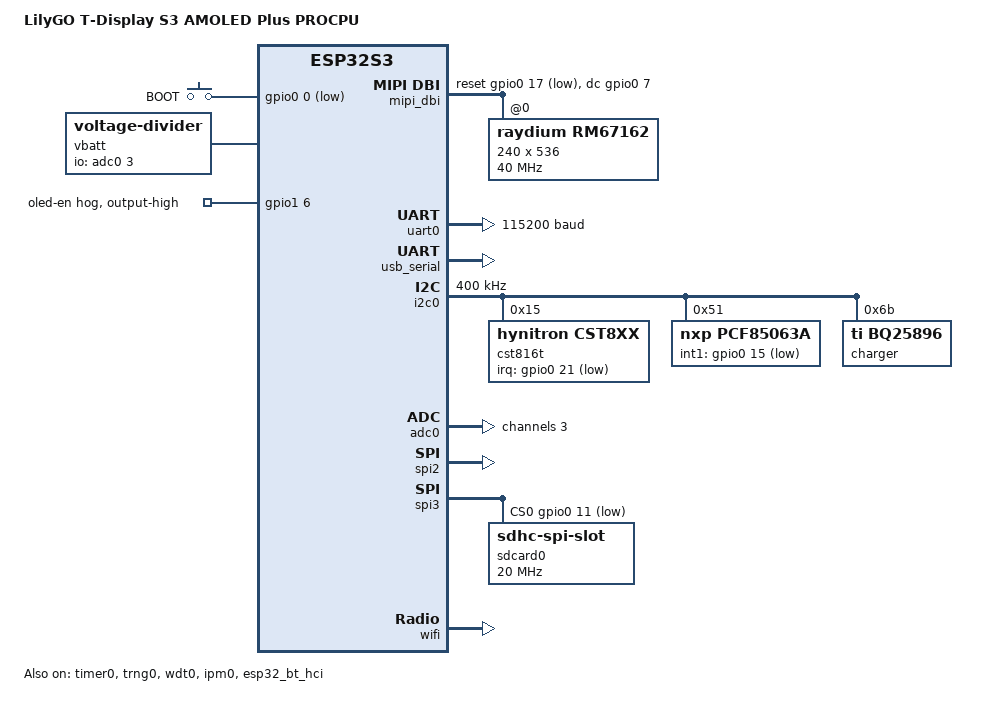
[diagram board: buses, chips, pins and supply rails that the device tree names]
/*
 * SPDX-FileCopyrightText: Copyright The Zephyr Project Contributors
 * SPDX-License-Identifier: Apache-2.0
 */

/dts-v1/;

#include <espressif/esp32s3/esp32s3.dtsi>
#include "tdisplay_s3_amoled_plus-pinctrl.dtsi"
#include <espressif/partitions_0x0_amp_16M.dtsi>
#include <zephyr/dt-bindings/adc/adc.h>
#include <zephyr/dt-bindings/display/panel.h>
#include <zephyr/dt-bindings/input/input-event-codes.h>
#include <zephyr/dt-bindings/mipi_dbi/mipi_dbi.h>

/ {
	model = "LilyGO T-Display S3 AMOLED Plus PROCPU";
	compatible = "espressif,esp32s3";

	aliases {
		i2c-0 = &i2c0;
		rtc = &pcf85063a;
		sdhc0 = &sdcard0;
		sw0 = &boot_button;
		uart-0 = &uart0;
		watchdog0 = &wdt0;
	};

	chosen {
		zephyr,sram = &sram1;
		zephyr,console = &usb_serial;
		zephyr,shell-uart = &usb_serial;
		zephyr,flash = &flash0;
		zephyr,code-partition = &slot0_partition;
		zephyr,bt-hci = &esp32_bt_hci;
		zephyr,display = &rm67162;
		zephyr,touch = &cst816t;
	};

	mipi_dbi {
		compatible = "zephyr,mipi-dbi-spi";
		spi-dev = <&spi2>;
		dc-gpios = <&gpio0 7 GPIO_ACTIVE_HIGH>;
		reset-gpios = <&gpio0 17 GPIO_ACTIVE_LOW>;
		te-gpios = <&gpio0 9 GPIO_ACTIVE_HIGH>;
		write-only;
		#address-cells = <1>;
		#size-cells = <0>;

		rm67162: rm67162@0 {
			compatible = "raydium,rm67162";
			reg = <0>;
			mipi-max-frequency = <DT_FREQ_M(40)>;
			mipi-mode = "MIPI_DBI_MODE_SPI_4WIRE";
			init-sequence = "lilygo-t-display-s3-amoled";
			width = <240>;
			height = <536>;
			rotation = <90>;
			pixel-format = <PANEL_PIXEL_FORMAT_RGB_565X>;
			te-mode = "MIPI_DBI_TE_RISING_EDGE";
		};
	};

	gpio_keys {
		compatible = "gpio-keys";

		boot_button: boot_button {
			label = "BOOT";
			gpios = <&gpio0 0 GPIO_ACTIVE_LOW>;
			zephyr,code = <INPUT_KEY_0>;
		};
	};

	lvgl_pointer {
		compatible = "zephyr,lvgl-pointer-input";
		input = <&cst816t>;
	};

	vbatt: vbatt {
		compatible = "voltage-divider";
		io-channels = <&adc0 3>;
		output-ohms = <100000>;
		full-ohms = <200000>;
		skip-calibration;
	};
};

&flash0 {
	reg = <0x0 DT_SIZE_M(16)>;
	ranges = <0x0 0x0 DT_SIZE_M(16)>;
};

&psram0 {
	size = <DT_SIZE_M(8)>;
};

&gpio0 {
	status = "okay";
};

&gpio1 {
	status = "okay";

	/* Enables the AMOLED panel power supply (ELVDD/ELVSS) */
	oled-en-hog {
		gpio-hog;
		gpios = <6 GPIO_ACTIVE_HIGH>;
		output-high;
		line-name = "oled-en";
	};
};

&uart0 {
	status = "okay";
	current-speed = <115200>;
	pinctrl-0 = <&uart0_default>;
	pinctrl-names = "default";
};

&usb_serial {
	status = "okay";
};

&i2c0 {
	status = "okay";
	clock-frequency = <I2C_BITRATE_FAST>;
	pinctrl-0 = <&i2c0_default>;
	pinctrl-names = "default";

	cst816t: touchscreen@15 {
		compatible = "hynitron,cst8xx";
		reg = <0x15>;
		irq-gpios = <&gpio0 21 GPIO_ACTIVE_LOW>;
		screen-width = <536>;
		screen-height = <240>;
		inverted-y;
		swapped-x-y;
	};

	pcf85063a: rtc@51 {
		compatible = "nxp,pcf85063a";
		reg = <0x51>;
		int1-gpios = <&gpio0 15 GPIO_ACTIVE_LOW>;
	};

	charger: charger@6b {
		compatible = "ti,bq25896";
		reg = <0x6b>;
		constant-charge-current-max-microamp = <512000>;
		constant-charge-voltage-max-microvolt = <4208000>;
	};
};

&adc0 {
	status = "okay";
	#address-cells = <1>;
	#size-cells = <0>;

	channel@3 {
		reg = <3>;
		zephyr,gain = "ADC_GAIN_1_4";
		zephyr,reference = "ADC_REF_INTERNAL";
		zephyr,acquisition-time = <ADC_ACQ_TIME_DEFAULT>;
		zephyr,resolution = <12>;
	};
};

&spi2 {
	#address-cells = <1>;
	#size-cells = <0>;
	status = "okay";
	pinctrl-0 = <&spim2_default>;
	pinctrl-names = "default";
	dma-enabled;
	dmas = <&dma 0>, <&dma 1>;
	dma-names = "rx", "tx";
};

&spi3 {
	#address-cells = <1>;
	#size-cells = <0>;
	status = "okay";
	pinctrl-0 = <&spim3_default>;
	pinctrl-names = "default";
	cs-gpios = <&gpio0 11 GPIO_ACTIVE_LOW>;

	sdcard0: sdhc@0 {
		compatible = "zephyr,sdhc-spi-slot";
		reg = <0>;
		spi-max-frequency = <DT_FREQ_M(20)>;

		mmc {
			compatible = "zephyr,sdmmc-disk";
			disk-name = "SD";
		};
	};
};

&dma {
	status = "okay";
};

&timer0 {
	status = "okay";
};

&trng0 {
	status = "okay";
};

&wdt0 {
	status = "okay";
};

&ipm0 {
	status = "okay";
};

&esp32_bt_hci {
	status = "okay";
};

&wifi {
	status = "okay";
};
